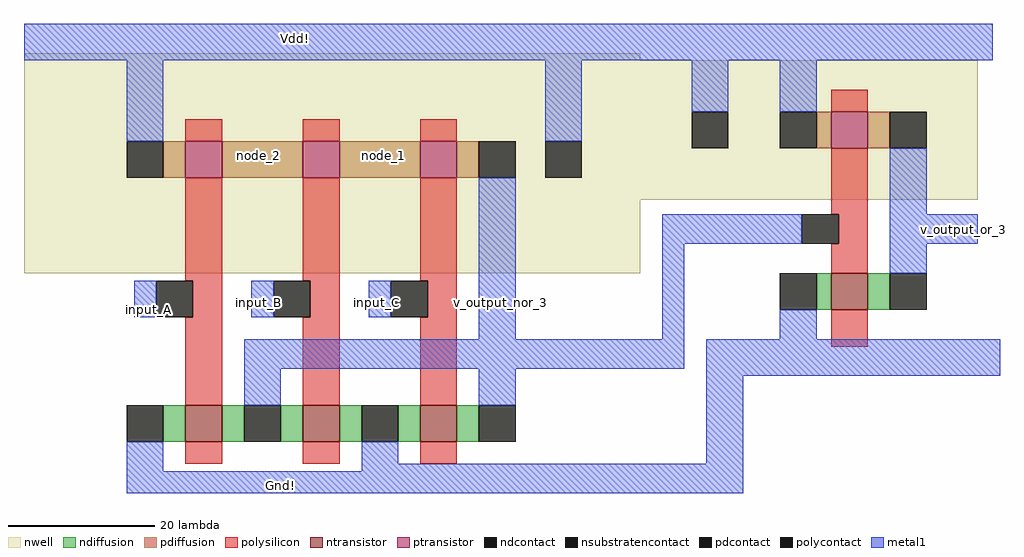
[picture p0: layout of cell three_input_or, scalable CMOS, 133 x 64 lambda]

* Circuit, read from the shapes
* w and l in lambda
.subckt three_input_or Gnd! Vdd! input_A input_B input_C node_1 node_2 v_output_nor_3 v_output_or_3
M1 v_output_nor_3 input_A Gnd! VSUBS nfet w=5 l=5
M2 Gnd! input_B v_output_nor_3 VSUBS nfet w=5 l=5
M3 v_output_nor_3 input_C Gnd! VSUBS nfet w=5 l=5
M4 v_output_or_3 v_output_nor_3 Gnd! VSUBS nfet w=5 l=5
M5 node_2 input_A Vdd! Vdd! pfet w=5 l=5
M6 node_1 input_B node_2 Vdd! pfet w=5 l=5
M7 v_output_nor_3 input_C node_1 Vdd! pfet w=5 l=5
M8 v_output_or_3 v_output_nor_3 Vdd! Vdd! pfet w=5 l=5
.ends

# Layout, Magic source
magic
tech scmos
<< nwell >>
rect -50 1 34 31
<< ntransistor >>
rect -28 -22 -23 -17
rect -12 -22 -7 -17
rect 4 -22 9 -17
<< ptransistor >>
rect -28 14 -23 19
rect -12 14 -7 19
rect 4 14 9 19
<< ndiffusion >>
rect -31 -22 -28 -17
rect -23 -22 -20 -17
rect -15 -22 -12 -17
rect -7 -22 -4 -17
rect 1 -22 4 -17
rect 9 -22 12 -17
<< pdiffusion >>
rect -31 14 -28 19
rect -23 14 -12 19
rect -7 14 4 19
rect 9 14 12 19
<< ndcontact >>
rect -36 -22 -31 -17
rect -20 -22 -15 -17
rect -4 -22 1 -17
rect 12 -22 17 -17
<< pdcontact >>
rect -36 14 -31 19
rect 12 14 17 19
<< nsubstratencontact >>
rect 21 14 26 19
<< polysilicon >>
rect -28 19 -23 22
rect -12 19 -7 22
rect 4 19 9 22
rect -28 0 -23 14
rect -12 0 -7 14
rect 4 0 9 14
rect -27 -5 -23 0
rect -11 -5 -7 0
rect 5 -5 9 0
rect -28 -17 -23 -5
rect -12 -17 -7 -5
rect 4 -17 9 -5
rect -28 -25 -23 -22
rect -12 -25 -7 -22
rect 4 -25 9 -22
<< polycontact >>
rect -32 -5 -27 0
rect -16 -5 -11 0
rect 0 -5 5 0
<< metal1 >>
rect -50 30 34 35
rect -36 19 -31 30
rect 21 19 26 30
rect -35 -5 -32 0
rect -19 -5 -16 0
rect -3 -5 0 0
rect 12 -8 17 14
rect 37 5 52 9
rect 76 5 80 9
rect 37 -8 40 5
rect -20 -12 40 -8
rect -20 -17 -15 -12
rect 12 -17 17 -12
rect -36 -26 -31 -22
rect -4 -25 1 -22
rect 43 -25 48 -8
rect -4 -26 48 -25
rect -36 -29 48 -26
use not_without_labels  not_without_labels_0
transform 1 0 50 0 1 -1
box -16 -12 33 36
<< labels >>
rlabel metal1 -13 33 -13 33 5 Vdd!
rlabel metal1 -33 -4 -33 -4 1 input_A
rlabel metal1 -18 -3 -18 -3 1 input_B
rlabel metal1 -2 -3 -2 -3 1 input_C
rlabel metal1 15 -3 15 -3 1 v_output_nor_3
rlabel metal1 -15 -28 -15 -28 1 Gnd!
rlabel pdiffusion -1 17 -1 17 1 node_1
rlabel pdiffusion -18 17 -18 17 1 node_2
rlabel metal1 78 7 78 7 7 v_output_or_3
<< end >>

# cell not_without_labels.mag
magic
tech scmos
<< nwell >>
rect -16 12 30 31
<< ntransistor >>
rect 10 -3 15 2
<< ptransistor >>
rect 10 19 15 24
<< ndiffusion >>
rect 8 -3 10 2
rect 15 -3 18 2
<< pdiffusion >>
rect 8 19 10 24
rect 15 19 18 24
<< ndcontact >>
rect 3 -3 8 2
rect 18 -3 23 2
<< pdcontact >>
rect 3 19 8 24
rect 18 19 23 24
<< nsubstratencontact >>
rect -9 19 -4 24
<< polysilicon >>
rect 10 24 15 27
rect 10 10 15 19
rect 11 6 15 10
rect 10 2 15 6
rect 10 -8 15 -3
<< polycontact >>
rect 6 6 11 10
<< metal1 >>
rect -16 31 32 36
rect -9 24 -4 31
rect 3 24 8 31
rect 18 10 23 19
rect 2 6 6 10
rect 18 6 26 10
rect 18 2 23 6
rect 3 -7 8 -3
rect -6 -12 33 -7
<< end >>
